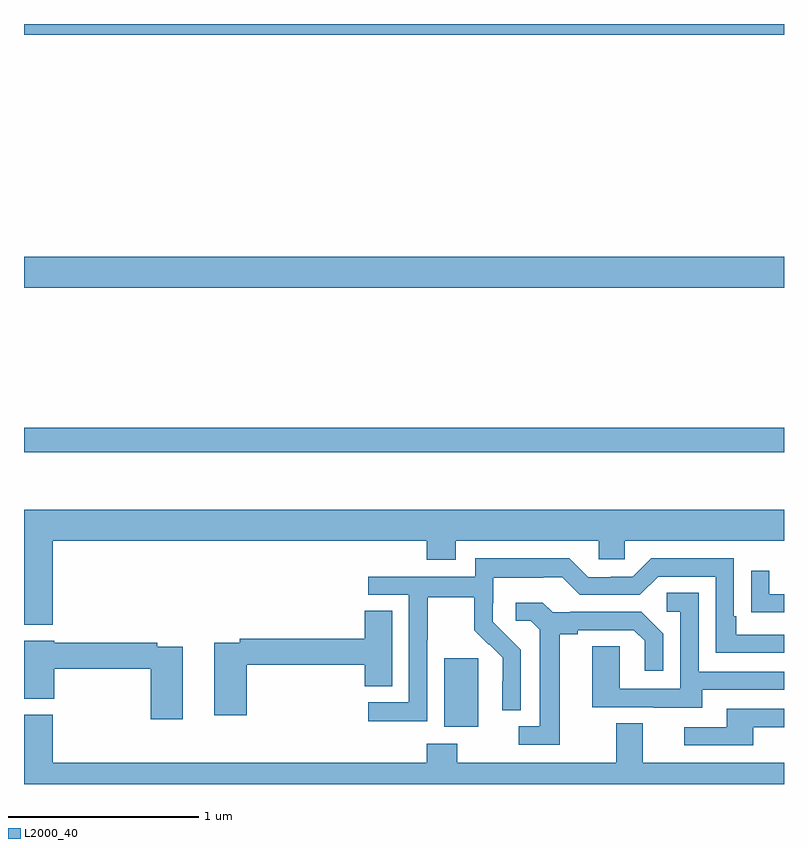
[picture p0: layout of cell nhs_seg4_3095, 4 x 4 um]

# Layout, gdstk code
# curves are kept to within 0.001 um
import gdstk
lib = gdstk.Library(unit=1e-6, precision=1e-09)
def R(c, l, rs):  # rectangles x0, y0, x1, y1
    for r in rs: c.add(gdstk.rectangle(r[:2], r[2:], *l))
def P(c, l, *ps):  # polygons
    for p in ps: c.add(gdstk.Polygon(p, *l))
L2000_40 = (2000, 40)

nhs_seg4_3095 = lib.new_cell('nhs_seg4_3095')
R(nhs_seg4_3095, L2000_40, [(277.211,769.202,277.39,769.563), (275,770.646,279,770.774), (275,771.512,279,771.676), (275,772.844,279,772.9)])
P(nhs_seg4_3095, L2000_40, [(275.15,770.18),(277.121,770.18),(277.121,770.081),(277.273,770.081),(277.273,770.18),(278.025,770.18),(278.025,770.082),(278.163,770.082),(278.163,770.18),(279,770.18),(279,770.344),(275,770.344),(275,769.739),(275.15,769.739)],
  [(277.122,769.66),(277.125,769.66),(277.125,769.884),(277.369,769.884),(277.369,769.709),(277.446,769.632),(277.449,769.635),(277.52,769.565),(277.52,769.442),(277.518,769.442),(277.518,769.288),(277.614,769.288),(277.614,769.606),(277.468,769.754),(277.468,769.851),(277.47,769.851),(277.47,769.985),(277.733,769.985),(277.733,769.989),(277.833,769.989),(277.926,769.896),(278.241,769.896),(278.337,769.992),(278.64,769.992),(278.64,769.59),(279,769.59),(279,769.686),(278.749,769.686),(278.749,769.783),(278.736,769.783),(278.736,770.088),(278.301,770.088),(278.205,769.992),(278.087,769.992),(278.087,769.989),(277.971,769.989),(277.871,770.089),(277.374,770.089),(277.374,769.992),(276.813,769.992),(276.813,769.896),(277.026,769.896),(277.026,769.329),(276.813,769.329),(276.813,769.231),(277.122,769.231)],
  [(279,769.899),(278.923,769.899),(278.923,770.023),(278.827,770.023),(278.827,769.804),(278.929,769.804),(278.929,769.803),(279,769.803)],
  [(278.569,769.395),(279,769.395),(279,769.491),(278.55,769.491),(278.55,769.907),(278.382,769.907),(278.382,769.806),(278.454,769.806),(278.454,769.401),(278.136,769.401),(278.136,769.625),(277.991,769.625),(277.991,769.305),(278.315,769.305),(278.315,769.301),(278.569,769.301)],
  [(277.819,769.688),(277.915,769.688),(277.915,769.71),(278.21,769.71),(278.267,769.653),(278.267,769.497),(278.364,769.497),(278.364,769.69),(278.248,769.806),(277.876,769.806),(277.876,769.803),(277.782,769.803),(277.73,769.855),(277.587,769.855),(277.587,769.758),(277.668,769.758),(277.715,769.711),(277.715,769.203),(277.605,769.203),(277.605,769.107),(277.819,769.107)],
  [(276.173,769.528),(276.794,769.528),(276.794,769.414),(276.937,769.414),(276.937,769.811),(276.794,769.811),(276.794,769.664),(276.136,769.664),(276.136,769.644),(276.002,769.644),(276.002,769.263),(276.173,769.263)],
  [(275.836,769.623),(275.702,769.623),(275.702,769.643),(275.158,769.643),(275.158,769.654),(275,769.654),(275,769.349),(275.158,769.349),(275.158,769.507),(275.666,769.507),(275.666,769.242),(275.836,769.242)],
  [(278.839,769.2),(279,769.2),(279,769.296),(278.699,769.296),(278.699,769.2),(278.475,769.2),(278.475,769.104),(278.839,769.104)],
  [(279,769.012),(278.257,769.012),(278.257,769.22),(278.117,769.22),(278.117,769.012),(277.281,769.012),(277.281,769.111),(277.121,769.111),(277.121,769.012),(275.15,769.012),(275.15,769.264),(275,769.264),(275,768.9),(279,768.9)])

lib.write_gds('nhs_seg4_3095.gds')
